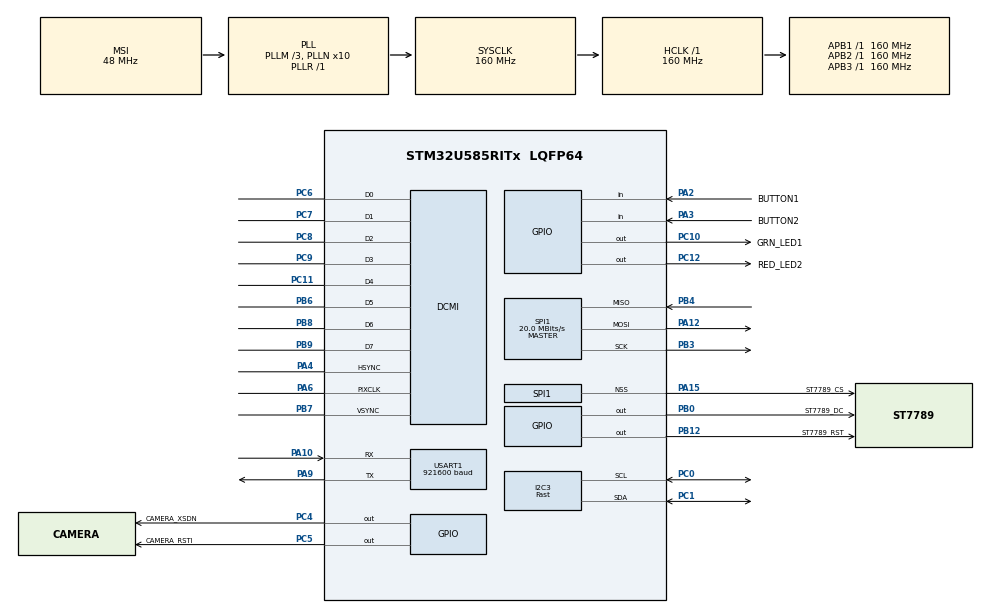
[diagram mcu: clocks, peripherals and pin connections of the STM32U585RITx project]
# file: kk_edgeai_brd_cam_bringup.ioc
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CORTEX_M33_NS.userName=CORTEX_M33
DCMI.HSPolarity=DCMI_HSPOLARITY_HIGH
DCMI.PCKPolarity=DCMI_PCKPOLARITY_RISING
DCMI.VSPolarity=DCMI_VSPOLARITY_HIGH
GPDMA1.DIRECTION_GPDMACH15=DMA_MEMORY_TO_PERIPH
GPDMA1.IPHANDLE_GPDMACH15-SIMPLEREQUEST_GPDMACH15=__NULL
GPDMA1.LINKEDLISTMODE_GPDMACH12=DMA_LINKEDLIST_CIRCULAR
GPDMA1.RECAP_GPDMACH15=DMA_REQUEST_USART1_TX
GPDMA1.REQUEST_GPDMACH15=GPDMA1_REQUEST_SPI1_TX
GPDMA1.SRCINC_GPDMACH15=DMA_SINC_INCREMENTED
GPDMA1.TRANSFERALLOCATEDPORTDEST_GPDMACH15=DMA_DEST_ALLOCATED_PORT1
I2C3.I2C_Speed_Mode=I2C_Fast
I2C3.Timing=0x00F07BFF
Linkedlist.MDMA_Channel0.GP_SW.0.BlkHWRequest=DMA_BREQ_SINGLE_BURST
Linkedlist.MDMA_Channel0.GP_SW.0.DataHandling=NONE
Linkedlist.MDMA_Channel0.GP_SW.0.DataSize=0
Linkedlist.MDMA_Channel0.GP_SW.0.DestBurstLength=1
Linkedlist.MDMA_Channel0.GP_SW.0.DestDataWidth=DMA_DEST_DATAWIDTH_WORD
Linkedlist.MDMA_Channel0.GP_SW.0.DestInc=DMA_DINC_INCREMENTED
Linkedlist.MDMA_Channel0.GP_SW.0.Direction=DMA_PERIPH_TO_MEMORY
Linkedlist.MDMA_Channel0.GP_SW.0.DstAddress=0
Linkedlist.MDMA_Channel0.GP_SW.0.Instance=MDMA_Channel0
Linkedlist.MDMA_Channel0.GP_SW.0.LL_CIRCULARNODE=DCMINode1
Linkedlist.MDMA_Channel0.GP_SW.0.LL_MASTERDMA=GPDMA
Linkedlist.MDMA_Channel0.GP_SW.0.LL_NAME=DCMIQueue
Linkedlist.MDMA_Channel0.GP_SW.0.LL_TYPE=CIRCULAR
Linkedlist.MDMA_Channel0.GP_SW.0.NODE_NAME=DCMINode1
Linkedlist.MDMA_Channel0.GP_SW.0.Requestforcodegen=GPDMA1_REQUEST_DCMI
Linkedlist.MDMA_Channel0.GP_SW.0.SrcAddress=0
Linkedlist.MDMA_Channel0.GP_SW.0.SrcBurstLength=1
Linkedlist.MDMA_Channel0.GP_SW.0.SrcDataWidth=DMA_SRC_DATAWIDTH_WORD
Linkedlist.MDMA_Channel0.GP_SW.0.SrcInc=DMA_SINC_FIXED
Linkedlist.MDMA_Channel0.GP_SW.0.TransferAllocatedPortDest=DMA_DEST_ALLOCATED_PORT1
Linkedlist.MDMA_Channel0.GP_SW.0.TransferAllocatedPortSrc=DMA_SRC_ALLOCATED_PORT0
Linkedlist.MDMA_Channel0.GP_SW.0.TransferEventMode=DMA_TCEM_EACH_LL_ITEM_TRANSFER
Linkedlist.MDMA_Channel0.GP_SW.0.TriggerPolarity=DMA_TRIG_POLARITY_MASKED
Linkedlist.MDMA_Channel0.GP_SW.1.BlkHWRequest=DMA_BREQ_SINGLE_BURST
Linkedlist.MDMA_Channel0.GP_SW.1.DataHandling=NONE
Linkedlist.MDMA_Channel0.GP_SW.1.DataSize=0
Linkedlist.MDMA_Channel0.GP_SW.1.DestBurstLength=1
Linkedlist.MDMA_Channel0.GP_SW.1.DestDataWidth=DMA_DEST_DATAWIDTH_WORD
Linkedlist.MDMA_Channel0.GP_SW.1.DestInc=DMA_DINC_INCREMENTED
Linkedlist.MDMA_Channel0.GP_SW.1.Direction=DMA_PERIPH_TO_MEMORY
Linkedlist.MDMA_Channel0.GP_SW.1.DstAddress=0
Linkedlist.MDMA_Channel0.GP_SW.1.Instance=MDMA_Channel0
Linkedlist.MDMA_Channel0.GP_SW.1.LL_CIRCULARNODE=DCMINode1
Linkedlist.MDMA_Channel0.GP_SW.1.LL_MASTERDMA=GPDMA
Linkedlist.MDMA_Channel0.GP_SW.1.LL_NAME=DCMIQueue
Linkedlist.MDMA_Channel0.GP_SW.1.LL_TYPE=CIRCULAR
Linkedlist.MDMA_Channel0.GP_SW.1.NODE_NAME=DCMINode2
Linkedlist.MDMA_Channel0.GP_SW.1.Requestforcodegen=GPDMA1_REQUEST_DCMI
Linkedlist.MDMA_Channel0.GP_SW.1.SrcAddress=0
Linkedlist.MDMA_Channel0.GP_SW.1.SrcBurstLength=1
Linkedlist.MDMA_Channel0.GP_SW.1.SrcDataWidth=DMA_SRC_DATAWIDTH_WORD
Linkedlist.MDMA_Channel0.GP_SW.1.SrcInc=DMA_SINC_FIXED
Linkedlist.MDMA_Channel0.GP_SW.1.TransferAllocatedPortDest=DMA_DEST_ALLOCATED_PORT1
Linkedlist.MDMA_Channel0.GP_SW.1.TransferAllocatedPortSrc=DMA_SRC_ALLOCATED_PORT0
Linkedlist.MDMA_Channel0.GP_SW.1.TransferEventMode=DMA_TCEM_EACH_LL_ITEM_TRANSFER
Linkedlist.MDMA_Channel0.GP_SW.1.TriggerPolarity=DMA_TRIG_POLARITY_MASKED
Linkedlist.MDMA_Channel0.Request0=GP_SW
Linkedlist.MDMA_Channel0.Request1=GP_SW
Linkedlist.MDMA_Channel0.RequestsNb=2
Linkedlist.RequestSet0=MDMA_Channel0
Linkedlist.RequestSetsNb=1
Mcu.Family=STM32U5
Mcu.Name=STM32U585RITx
Mcu.Package=LQFP64
NVIC.DCMI_PSSI_IRQn=true\:0\:0\:false\:false\:true\:true\:true\:true
NVIC.GPDMA1_Channel12_IRQn=true\:0\:0\:false\:false\:true\:true\:true\:true
NVIC.GPDMA1_Channel15_IRQn=true\:0\:0\:false\:false\:true\:false\:true\:true
NVIC.PriorityGroup=NVIC_PRIORITYGROUP_4
NVIC.SPI1_IRQn=true\:0\:0\:false\:false\:true\:true\:true\:true
NVIC.USART1_IRQn=true\:0\:0\:false\:false\:true\:true\:true\:true
PA10.Mode=Asynchronous
PA10.Signal=USART1_RX
PA12.Mode=Full_Duplex_Master
PA12.Signal=SPI1_MOSI
PA13\ (JTMS/SWDIO).Mode=Serial_Wire
PA13\ (JTMS/SWDIO).Signal=DEBUG_JTMS-SWDIO
PA14\ (JTCK/SWCLK).Mode=Serial_Wire
PA14\ (JTCK/SWCLK).Signal=DEBUG_JTCK-SWCLK
PA15\ (JTDI).GPIO_Label=ST7789_CS
PA15\ (JTDI).Mode=NSS_Signal_Hard_Output
PA15\ (JTDI).Signal=SPI1_NSS
PA2.GPIO_Label=BUTTON1
PA2.Signal=GPIO_Input
PA3.GPIO_Label=BUTTON2
PA3.Signal=GPIO_Input
PA4.GPIO_Speed=GPIO_SPEED_FREQ_HIGH
PA4.Mode=Slave_8_bits_External_Synchro
PA4.Signal=DCMI_HSYNC
PA6.GPIO_Speed=GPIO_SPEED_FREQ_HIGH
PA6.Mode=Slave_8_bits_External_Synchro
PA6.Signal=DCMI_PIXCLK
PA9.Mode=Asynchronous
PA9.Signal=USART1_TX
PB0.GPIO_Label=ST7789_DC
PB0.Signal=GPIO_Output
PB12.GPIO_Label=ST7789_RST
PB12.Signal=GPIO_Output
PB3\ (JTDO/TRACESWO).Mode=Full_Duplex_Master
PB3\ (JTDO/TRACESWO).Signal=SPI1_SCK
PB4\ (NJTRST).Mode=Full_Duplex_Master
PB4\ (NJTRST).Signal=SPI1_MISO
PB6.GPIO_Speed=GPIO_SPEED_FREQ_HIGH
PB6.Mode=Slave_8_bits_External_Synchro
PB6.Signal=DCMI_D5
PB7.GPIO_Speed=GPIO_SPEED_FREQ_HIGH
PB7.Mode=Slave_8_bits_External_Synchro
PB7.Signal=DCMI_VSYNC
PB8.GPIO_Speed=GPIO_SPEED_FREQ_HIGH
PB8.Mode=Slave_8_bits_External_Synchro
PB8.Signal=DCMI_D6
PB9.GPIO_Speed=GPIO_SPEED_FREQ_HIGH
PB9.Mode=Slave_8_bits_External_Synchro
PB9.Signal=DCMI_D7
PC0.Mode=I2C
PC0.Signal=I2C3_SCL
PC1.Mode=I2C
PC1.Signal=I2C3_SDA
PC10.GPIO_Label=GRN_LED1
PC10.PinState=GPIO_PIN_SET
PC10.Signal=GPIO_Output
PC11.GPIO_Speed=GPIO_SPEED_FREQ_HIGH
PC11.Mode=Slave_8_bits_External_Synchro
PC11.Signal=DCMI_D4
PC12.GPIO_Label=RED_LED2
PC12.PinState=GPIO_PIN_SET
PC12.Signal=GPIO_Output
PC4.GPIO_Label=CAMERA_XSDN
PC4.Signal=GPIO_Output
PC5.GPIO_Label=CAMERA_RSTI
PC5.GPIO_ModeDefaultOutputPP=GPIO_MODE_OUTPUT_OD
PC5.GPIO_PuPd=GPIO_NOPULL
PC5.PinState=GPIO_PIN_SET
PC5.Signal=GPIO_Output
PC6.GPIO_Speed=GPIO_SPEED_FREQ_HIGH
PC6.Mode=Slave_8_bits_External_Synchro
PC6.Signal=DCMI_D0
PC7.GPIO_Speed=GPIO_SPEED_FREQ_HIGH
PC7.Mode=Slave_8_bits_External_Synchro
PC7.Signal=DCMI_D1
PC8.GPIO_Speed=GPIO_SPEED_FREQ_HIGH
PC8.Mode=Slave_8_bits_External_Synchro
PC8.Signal=DCMI_D2
PC9.GPIO_Speed=GPIO_SPEED_FREQ_HIGH
PC9.Mode=Slave_8_bits_External_Synchro
PC9.Signal=DCMI_D3
ProjectManager.HeapSize=0x800
ProjectManager.StackSize=0x800
ProjectManager.TargetToolchain=STM32CubeIDE
RCC.ADCFreq_Value=16000000
RCC.AHBFreq_Value=160000000
RCC.APB1Freq_Value=160000000
RCC.APB1TimFreq_Value=160000000
RCC.APB2Freq_Value=160000000
RCC.APB2TimFreq_Value=160000000
RCC.APB3Freq_Value=160000000
RCC.CortexFreq_Value=160000000
RCC.EPOD_VALUE=48000000
RCC.HCLKFreq_Value=160000000
RCC.HSE_VALUE=16000000
RCC.HSI48_VALUE=48000000
RCC.HSI_VALUE=16000000
RCC.LSE_VALUE=32768
RCC.LSIDIV_VALUE=32000
RCC.MSIClockRange=RCC_MSIRANGE_0
RCC.MSI_VALUE=48000000
RCC.PLL1R=1
RCC.PLLFRACN=0
RCC.PLLM=3
RCC.PLLN=10
RCC.SYSCLKFreq_VALUE=160000000
RCC.SYSCLKSource=RCC_SYSCLKSOURCE_PLLCLK
RCC.USBFreq_Value=48000000
RCC.VCOOutputFreq_Value=160000000
SPI1.BaudRatePrescaler=SPI_BAUDRATEPRESCALER_8
SPI1.CLKPhase=SPI_PHASE_2EDGE
SPI1.CLKPolarity=SPI_POLARITY_HIGH
SPI1.CalculateBaudRate=20.0 MBits/s
SPI1.DataSize=SPI_DATASIZE_8BIT
SPI1.Direction=SPI_DIRECTION_2LINES
SPI1.Mode=SPI_MODE_MASTER
SPI1.VirtualNSS=VM_NSSHARD
SPI1.VirtualType=VM_MASTER
STMicroelectronics.X-CUBE-AI.10.2.0.ActivationBufferSizeList=284476
STMicroelectronics.X-CUBE-AI.10.2.0.ActivationBuffers=pool0
STMicroelectronics.X-CUBE-AI.10.2.0.ActivationNames=pool0
STMicroelectronics.X-CUBE-AI.10.2.0.ActivationSizes=AI_P_DET_MODEL_DATA_ACTIVATION_1_SIZE
STMicroelectronics.X-CUBE-AI.10.2.0.ApplicationCcDeviceJjApplication=ApplicationTemplate
STMicroelectronics.X-CUBE-AI.10.2.0.HeapSize=0x800
STMicroelectronics.X-CUBE-AI.10.2.0.InternalRamActivationBufferMaxSize=AI_P_DET_MODEL_DATA_ACTIVATIONS_SIZE
STMicroelectronics.X-CUBE-AI.10.2.0.LatestDirectoryUsed-22d527e8269e08b1355545bac40afa2865f7ea6b38338b52d1e1b85efc793fd8=C\:\\Users\\kenneth.kong\\STM32CubeIDE\\workspace_2.0.0\\stm32u5_custom_pcb_fw\\kk_edgeai_brd_cam_bringup
STMicroelectronics.X-CUBE-AI.10.2.0.MaximumNumberOfInputLayer=1
STMicroelectronics.X-CUBE-AI.10.2.0.MaximumNumberOfOutputLayer=1
STMicroelectronics.X-CUBE-AI.10.2.0.MaximumSizeOfInputLayer=1
STMicroelectronics.X-CUBE-AI.10.2.0.MaximumSizeOfOutputLayer=1
STMicroelectronics.X-CUBE-AI.10.2.0.ModelActualCompression-22d527e8269e08b1355545bac40afa2865f7ea6b38338b52d1e1b85efc793fd8=0.0
STMicroelectronics.X-CUBE-AI.10.2.0.ModelCompression-22d527e8269e08b1355545bac40afa2865f7ea6b38338b52d1e1b85efc793fd8=None
STMicroelectronics.X-CUBE-AI.10.2.0.ModelFlashOccupation-22d527e8269e08b1355545bac40afa2865f7ea6b38338b52d1e1b85efc793fd8=524138
STMicroelectronics.X-CUBE-AI.10.2.0.ModelHashList=22d527e8269e08b1355545bac40afa2865f7ea6b38338b52d1e1b85efc793fd8
STMicroelectronics.X-CUBE-AI.10.2.0.ModelKind-22d527e8269e08b1355545bac40afa2865f7ea6b38338b52d1e1b85efc793fd8=TFLITE
STMicroelectronics.X-CUBE-AI.10.2.0.ModelMacc-22d527e8269e08b1355545bac40afa2865f7ea6b38338b52d1e1b85efc793fd8=19094660
STMicroelectronics.X-CUBE-AI.10.2.0.ModelName-22d527e8269e08b1355545bac40afa2865f7ea6b38338b52d1e1b85efc793fd8=p_det_model
STMicroelectronics.X-CUBE-AI.10.2.0.ModelNameList=p_det_model
STMicroelectronics.X-CUBE-AI.10.2.0.ModelRamOccupation-22d527e8269e08b1355545bac40afa2865f7ea6b38338b52d1e1b85efc793fd8=284476
STMicroelectronics.X-CUBE-AI.10.2.0.ModelStructureFile-22d527e8269e08b1355545bac40afa2865f7ea6b38338b52d1e1b85efc793fd8=mobilenet_v2_0.35_128_fft_int8_image_classification_person.tflite
STMicroelectronics.X-CUBE-AI.10.2.0.ModelType-22d527e8269e08b1355545bac40afa2865f7ea6b38338b52d1e1b85efc793fd8=STM32Cube.AI MCU runtime
STMicroelectronics.X-CUBE-AI.10.2.0.ReadyForCodeGeneration=true
STMicroelectronics.X-CUBE-AI.10.2.0.StackSize=0x800
STMicroelectronics.X-CUBE-AI.10.2.0.WorkingBufferStartAddrList=0xFFFFFFFF
STMicroelectronics.X-CUBE-AI.10.2.0.XAaCUBEAaAICcArtificialOoIntelligenceJjCore=true
STMicroelectronics.X-CUBE-AI.10.2.0.copyWeightToRam=false
STMicroelectronics.X-CUBE-AI.10.2.0.copyWeightToRam-22d527e8269e08b1355545bac40afa2865f7ea6b38338b52d1e1b85efc793fd8=false
STMicroelectronics.X-CUBE-AI.10.2.0.customLayerConfigEnabled=false
STMicroelectronics.X-CUBE-AI.10.2.0.customLayerConfigEnabled-22d527e8269e08b1355545bac40afa2865f7ea6b38338b52d1e1b85efc793fd8=false
STMicroelectronics.X-CUBE-AI.10.2.0.noOnnxIoTranspose=false
STMicroelectronics.X-CUBE-AI.10.2.0.noOnnxIoTranspose-22d527e8269e08b1355545bac40afa2865f7ea6b38338b52d1e1b85efc793fd8=false
STMicroelectronics.X-CUBE-AI.10.2.0.optimization-22d527e8269e08b1355545bac40afa2865f7ea6b38338b52d1e1b85efc793fd8=time
STMicroelectronics.X-CUBE-AI.10.2.0.useInputAllocation=true
STMicroelectronics.X-CUBE-AI.10.2.0.useInputAllocation-22d527e8269e08b1355545bac40afa2865f7ea6b38338b52d1e1b85efc793fd8=true
STMicroelectronics.X-CUBE-AI.10.2.0.useOutputAllocation=true
STMicroelectronics.X-CUBE-AI.10.2.0.useOutputAllocation-22d527e8269e08b1355545bac40afa2865f7ea6b38338b52d1e1b85efc793fd8=true
USART1.BaudRate=921600
USART1.VirtualMode-Asynchronous=VM_ASYNC
VP_GPDMA1_VS_GPDMACH12.Mode=LINKEDLIST_GPDMACH12
VP_GPDMA1_VS_GPDMACH15.Mode=SIMPLEREQUEST_GPDMACH15
VP_ICACHE_VS_ICACHE.Mode=DirectMappedCache
VP_LPBAMQUEUE_VS_QUEUE.Mode=QUEUEMODE
VP_LPBAM_VS_SIG1.Mode=SmartRun
VP_LPBAM_VS_SIG4.Mode=LPDMA1
VP_MEMORYMAP_VS_MEMORYMAP.Mode=CurAppReg
VP_PWR_VS_SECSignals.Mode=Security/Privilege
VP_STMicroelectronics.X-CUBE-AI_VS_ArtificialOoIntelligenceJjXAaCUBEAaAI_10.2.0.Mode=ArtificialOoIntelligenceJjXAaCUBEAaAI
VP_STMicroelectronics.X-CUBE-AI_VS_DeviceJjApplication_10.2.0.Mode=DeviceJjApplication
board=custom

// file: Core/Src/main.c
/* USER CODE BEGIN Header */
/**
  ******************************************************************************
  * @file           : main.c
  * @brief          : Main program body
  ******************************************************************************
  * @attention
  *
  * Copyright (c) 2026 STMicroelectronics.
  * All rights reserved.
  *
  * This software is licensed under terms that can be found in the LICENSE file
  * in the root directory of this software component.
  * If no LICENSE file comes with this software, it is provided AS-IS.
  *
  ******************************************************************************
  */
/* USER CODE END Header */
#include "main.h"
#include "dcmi.h"
#include "gpdma.h"
#include "i2c.h"
#include "icache.h"
#include "spi.h"
#include "usart.h"
#include "gpio.h"
#include "app_x-cube-ai.h"

/* USER CODE BEGIN Includes */
//#include <stdlib.h>
#include <stdio.h>
#include <string.h>
#include "linked_list.h"
#include "b_u585i_iot02a_camera.h"
#include "fonts.h"
#include "st7789.h"
/* USER CODE END Includes */

/* USER CODE BEGIN PTD */
//// Frame header structure for synchronization
//typedef struct __attribute__((packed)) {
//    uint32_t sync_word;      // 0xDEADBEEF for synchronization
//    uint16_t width;
//    uint16_t height;
//    uint16_t format;         // 0 = RGB565  1 = RGB888
//    uint32_t frame_size;     // Total bytes
//    uint32_t checksum;       // Simple checksum for validation
//} FrameHeader_t;
/* USER CODE END PTD */

/* USER CODE BEGIN PD */
#define ON  1
#define OFF 0

#define CAM_RES_W 320
#define CAM_RES_H 240

#define HW_CROP_H 128
#define HW_CROP_V 128
/* USER CODE END PD */

/* USER CODE BEGIN PV */
extern DMA_QListTypeDef DCMIQueue;

// flags
volatile uint8_t is_frame_ready = 0;
uint8_t led_ready = 0;

// timer (systick-based) related
volatile uint32_t g_sysTicks;
//uint32_t cam_tick = 0;

// Camera frame buffer [*3 = RGB888]
//__ALIGNED(32) uint8_t CameraBuf[CAM_RES_W * CAM_RES_H * 3];
__ALIGNED(32) uint8_t CameraBuf[HW_CROP_H * HW_CROP_V * 3];  // this matches to input tensor shape to the model deployed

// Display buffer for scaled frame (240x135 RGB565)
__ALIGNED(32) uint16_t DisplayBuf[ST7789_WIDTH * ST7789_HEIGHT];

// Frame counter
//uint32_t frameNum = 0;

// global var for model output result
float inference_res = 0;
/* USER CODE END PV */

void SystemClock_Config(void);
/* USER CODE BEGIN PFP */
//static void scale_and_display_frame(uint8_t *src_frame, uint16_t src_width, uint16_t src_height,
//                                     uint16_t *dst_buffer, uint16_t dst_width, uint16_t dst_height);
//static void crop_center_scale_and_display_square_rgb888(uint8_t *src_frame,
//                                                        uint16_t src_width, uint16_t src_height,
//                                                        uint16_t screen_w, uint16_t screen_h);
void crop_center_128x128_rgb888(uint8_t *src_frame, uint16_t src_width, uint16_t src_height,
                                uint8_t *dst_buffer);
/* USER CODE END PFP */

/* USER CODE BEGIN 0 */
uint8_t *get_camera_buf(void)
{
	return &CameraBuf[0];
}

// Function to get camera buffer for AI processing (extern declaration in app_x-cube-ai.c)
uint8_t *get_camera_frame_for_ai(void)
{
	return &CameraBuf[0];
}

void BSP_CAMERA_FrameEventCallback(uint32_t Instance)
{
//  BSP_CAMERA_Suspend(0);  // only if CONTINUOUS mode is in use
  is_frame_ready = 1;
}

uint32_t get_ticks(void)
{
	return g_sysTicks;
}
uint32_t msec_since(uint32_t refTick)
{
	uint32_t tick_now = g_sysTicks;
	return (tick_now - refTick);
}

void set_green_led_state(uint8_t en)
{
	if (en)
		HAL_GPIO_WritePin(GRN_LED1_GPIO_Port, GRN_LED1_Pin, GPIO_PIN_RESET);
	else
		HAL_GPIO_WritePin(GRN_LED1_GPIO_Port, GRN_LED1_Pin, GPIO_PIN_SET);
}
void set_red_led_state(uint8_t en)
{
	if (en)
		HAL_GPIO_WritePin(RED_LED2_GPIO_Port, RED_LED2_Pin, GPIO_PIN_RESET);
	else
		HAL_GPIO_WritePin(RED_LED2_GPIO_Port, RED_LED2_Pin, GPIO_PIN_SET);
}
/* USER CODE END 0 */

int main(void)
{

  /* USER CODE BEGIN 1 */
  uint32_t dcmi_dma_len = ((uint32_t)(HW_CROP_H * HW_CROP_V) * 3) / 4U;
  /* USER CODE END 1 */

  /* MCU Configuration--------------------------------------------------------*/

  /* Reset of all peripherals, Initializes the Flash interface and the Systick. */
  HAL_Init();

  /* Configure the system clock */
  SystemClock_Config();

  /* Initialize all configured peripherals */
  MX_GPIO_Init();
  MX_GPDMA1_Init();
  MX_DCMI_Init();
  MX_I2C3_Init();
  MX_ICACHE_Init();
  MX_USART1_UART_Init();
  MX_SPI1_Init();
  MX_X_CUBE_AI_Init();
  /* USER CODE BEGIN 2 */
  MX_DCMIQueue_Config();
  HAL_DMAEx_List_LinkQ(&handle_GPDMA1_Channel12, &DCMIQueue);
  __HAL_LINKDMA(&hdcmi, DMA_Handle, handle_GPDMA1_Channel12);

  // Print
//  HAL_UART_Transmit(&huart1, (uint8_t *)"\r\nKenneth's Edge AI Board Bring-up Test\r\n", strlen("\r\nKenneth's Edge AI Board Bring-up Test\r\n"), 1000);

  // Set all LEDs <off>
  set_green_led_state(OFF);
  set_red_led_state(OFF);

  // Initialize Display
  ST7789_Init();
  ST7789_Fill_Color(BLUE);
  uint16_t x, y;
  y = x = 8;
  ST7789_WriteString(x, y, "EDGE AI BOARD", Font_16x26, YELLOW, BLUE);
  ST7789_WriteString(x, y+32, "Starting Person Detection DEMO", Font_7x10, WHITE, BLUE);
  ST7789_WriteString(x, y+52, "Camera Initializing", Font_11x18, RED, BLACK);

  // Initialize camera
#ifdef USE_RGB565
  if (BSP_CAMERA_Init(0, CAMERA_R320x240, CAMERA_PF_RGB565) != BSP_ERROR_NONE)
#endif
#ifdef USE_RGB888
  if (BSP_CAMERA_Init(0, CAMERA_R320x240, CAMERA_PF_RGB888) != BSP_ERROR_NONE)
#endif
  {
    ST7789_Fill_Color(BLACK);
    ST7789_WriteString(x, y, "CAMERA ERR!", Font_16x26, BLACK, RED);
    while(1);
  }
  else
  {
//    HAL_Delay(1000); // give the camera time to return good images

    // Debug
//	uint32_t lightMode, colorEffect, mirrorFlip;
//	int32_t brightness, sat, contr, hue;
//	BSP_CAMERA_GetLightMode(0, &lightMode);
//	BSP_CAMERA_GetColorEffect(0, &colorEffect);
//	BSP_CAMERA_GetBrightness(0, &brightness);
//	BSP_CAMERA_GetSaturation(0, &sat);
//	BSP_CAMERA_GetContrast(0, &contr);
//	BSP_CAMERA_GetHueDegree(0, &hue);
//	BSP_CAMERA_GetMirrorFlip(0, &mirrorFlip);
//	char strBuf[150] = {0};
//	sprintf(strBuf, "\r\nLight Mode: %lu\r\nColor Effect: %lu\r\nBrightness: %ld\r\nSaturation: %ld\r\nContrast: %ld\r\nHueDeg: %ld\r\nMirror Flip: %lu\r\n", lightMode, colorEffect, brightness, sat, contr, hue, mirrorFlip);
//	HAL_UART_Transmit(&huart1, (uint8_t *)strBuf, strlen(strBuf), 1000);

	// Configure camera options
	BSP_CAMERA_SetMirrorFlip(0, CAMERA_MIRRORFLIP_MIRROR);
	HAL_Delay(100);

	// Enable DCMI crop
	uint32_t X0 = (CAM_RES_W - HW_CROP_H) * 3 / 2;  // horizontal value is in pixel clocks count
	uint32_t Y0 = (CAM_RES_H - HW_CROP_V) / 2;
	uint32_t XSize = (HW_CROP_H * 3) - 1;           // horizontal value is in pixel clocks count [0 based]
	uint32_t YSize = HW_CROP_V - 1;                 // 0 based
	HAL_DCMI_ConfigCrop(&hdcmi, X0, Y0, XSize, YSize);
	HAL_Delay(450);
	HAL_DCMI_EnableCrop(&hdcmi);
	HAL_Delay(450);

	// Wait for user input
	ST7789_Fill_Color(BLACK);
	ST7789_WriteString(x, y,    "Press Button 2", Font_11x18, YELLOW, BLACK);
	ST7789_WriteString(x, y+18, "To Begin DEMO!", Font_11x18, YELLOW, BLACK);
    while (GPIO_PIN_RESET == HAL_GPIO_ReadPin(BUTTON2_GPIO_Port, BUTTON2_Pin));
    ST7789_Fill_Color(BLACK);

    // Start Camera
    is_frame_ready = 0;
//    BSP_CAMERA_Start(0, get_camera_buf(), CAMERA_MODE_CONTINUOUS);
    // Note: BSP function uses full 320*240 for DCMI DMA transfer, so it can't be used for cropped frame setup
    HAL_DCMI_Start_DMA(&hdcmi, CAMERA_MODE_SNAPSHOT, (uint32_t)CameraBuf, dcmi_dma_len);
  }

  /* USER CODE END 2 */

  /* Infinite loop */
  /* USER CODE BEGIN WHILE */
  while (1)
  {
	if (is_frame_ready)
	{
//	// 0. black out screen
//	  ST7789_Fill_Color(BLACK);

	// 1. Run AI inference on the new frame (crops center 128x128 internally)
	  MX_X_CUBE_AI_Process();

	// 2. Draw frame to display
	  // Convert RGB888 (BGR) to RGB565 and scale 128x128 to 135x135 (maintaining square aspect ratio)
	  // Display is 240x135, so we scale to 135x135 and center horizontally at x = (240-135)/2 = 52
	  const uint16_t src_width = HW_CROP_H;
	  const uint16_t src_height = HW_CROP_V;
	  const uint16_t dst_width = 135;
	  const uint16_t dst_height = 135;
	  const uint16_t dst_x = (ST7789_WIDTH - dst_width) >> 1;  // Center horizontally
	  const uint16_t dst_y = 0;  // Top aligned

	  // Scale and convert pixel by pixel
	  for (uint16_t dy = 0; dy < dst_height; dy++)
	  {
		for (uint16_t dx = 0; dx < dst_width; dx++)
		{
		  // Calculate source pixel coordinates using nearest neighbor
		  uint16_t sx = (dx * src_width) / dst_width;
		  uint16_t sy = (dy * src_height) / dst_height;

		  // Clamp to source bounds
		  if (sx >= src_width) sx = src_width - 1;
		  if (sy >= src_height) sy = src_height - 1;

		  // Get source pixel (BGR format: B, G, R)
		  uint32_t src_idx = (sy * src_width + sx) * 3;
		  uint8_t b = CameraBuf[src_idx];
		  uint8_t g = CameraBuf[src_idx + 1];
		  uint8_t r = CameraBuf[src_idx + 2];

		  // Convert to RGB565: RRRRR GGGGGG BBBBB
		  uint16_t rgb565 = ((r >> 3) << 11) | ((g >> 2) << 5) | (b >> 3);

		  // Swap bytes for ST7789 SPI because of the difference between big-endian and little-endian
		  rgb565 = (rgb565 >> 8) | (rgb565 << 8);

		  // Store in display buffer
		  DisplayBuf[dy * dst_width + dx] = rgb565;
		}
	  }
	  // Display the scaled image
	  ST7789_DrawImage(dst_x, dst_y, dst_width, dst_height, DisplayBuf);

	// 3. Draw overlay
	  char osd_buf[20] = {0};
	  sprintf(osd_buf, "%u%%", (uint8_t)(inference_res*100.f));
	  ST7789_WriteString(((ST7789_WIDTH - 128) >> 1) - 1, ST7789_HEIGHT - 20, osd_buf, Font_11x18, BLACK, YELLOW);

    // 4. Restart camera if SNAPSHOT mode is in use
      is_frame_ready = 0;
      HAL_DCMI_Start_DMA(&hdcmi, CAMERA_MODE_SNAPSHOT, (uint32_t)CameraBuf, dcmi_dma_len);
    }

    /* USER CODE END WHILE */

//  MX_X_CUBE_AI_Process();
  }
}

void SystemClock_Config(void)
{
  RCC_OscInitTypeDef RCC_OscInitStruct = {0};
  RCC_ClkInitTypeDef RCC_ClkInitStruct = {0};

  /** Configure the main internal regulator output voltage
  */
  if (HAL_PWREx_ControlVoltageScaling(PWR_REGULATOR_VOLTAGE_SCALE1) != HAL_OK)
  {
    Error_Handler();
  }

  /** Initializes the CPU, AHB and APB buses clocks
  */
  RCC_OscInitStruct.OscillatorType = RCC_OSCILLATORTYPE_MSI;
  RCC_OscInitStruct.MSIState = RCC_MSI_ON;
  RCC_OscInitStruct.MSICalibrationValue = RCC_MSICALIBRATION_DEFAULT;
  RCC_OscInitStruct.MSIClockRange = RCC_MSIRANGE_0;
  RCC_OscInitStruct.PLL.PLLState = RCC_PLL_ON;
  RCC_OscInitStruct.PLL.PLLSource = RCC_PLLSOURCE_MSI;
  RCC_OscInitStruct.PLL.PLLMBOOST = RCC_PLLMBOOST_DIV4;
  RCC_OscInitStruct.PLL.PLLM = 3;
  RCC_OscInitStruct.PLL.PLLN = 10;
  RCC_OscInitStruct.PLL.PLLP = 2;
  RCC_OscInitStruct.PLL.PLLQ = 2;
  RCC_OscInitStruct.PLL.PLLR = 1;
  RCC_OscInitStruct.PLL.PLLRGE = RCC_PLLVCIRANGE_1;
  RCC_OscInitStruct.PLL.PLLFRACN = 0;
  if (HAL_RCC_OscConfig(&RCC_OscInitStruct) != HAL_OK)
  {
    Error_Handler();
  }

  /** Initializes the CPU, AHB and APB buses clocks
  */
  RCC_ClkInitStruct.ClockType = RCC_CLOCKTYPE_HCLK|RCC_CLOCKTYPE_SYSCLK
                              |RCC_CLOCKTYPE_PCLK1|RCC_CLOCKTYPE_PCLK2
                              |RCC_CLOCKTYPE_PCLK3;
  RCC_ClkInitStruct.SYSCLKSource = RCC_SYSCLKSOURCE_PLLCLK;
  RCC_ClkInitStruct.AHBCLKDivider = RCC_SYSCLK_DIV1;
  RCC_ClkInitStruct.APB1CLKDivider = RCC_HCLK_DIV1;
  RCC_ClkInitStruct.APB2CLKDivider = RCC_HCLK_DIV1;
  RCC_ClkInitStruct.APB3CLKDivider = RCC_HCLK_DIV1;

  if (HAL_RCC_ClockConfig(&RCC_ClkInitStruct, FLASH_LATENCY_4) != HAL_OK)
  {
    Error_Handler();
  }
}

/* USER CODE BEGIN 4 */

// Simple checksum calculation
//static inline uint32_t calculate_checksum(uint8_t *data, uint32_t len)
//{
//    uint32_t sum = 0;
//    for(uint32_t i = 0; i < len; i++) {
//        sum += data[i];
//    }
//    return sum;
//}

// Send frame over UART
//static int32_t send_frame_uart(UART_HandleTypeDef *huart, uint8_t *frame_data, uint16_t width, uint16_t height)
//{
////    FrameHeader_t header;
////    header.sync_word = 0xDEADBEEF;
////    header.width = width;
////    header.height = height;
////    header.format = 0;  // RGB565
//////    header.format = 1;  // RGB888
////    header.frame_size = width * height * 2;  // *2 for RGB565
//////    header.frame_size = 320 * 240 * 3;  // 230,400 bytes
//////    header.frame_size = 480 * 272 * 3;
////    header.checksum = calculate_checksum(frame_data, header.frame_size);
////
////    // Send header
////    HAL_UART_Transmit(huart, (uint8_t*)&header, sizeof(FrameHeader_t), HAL_MAX_DELAY);
//
//    // Send frame data in chunks to avoid timeout
//	uint32_t data_len = sizeof(CameraBuf) - 4;
//    uint32_t bytes_sent = 0;
//    uint32_t chunk_size = 4096;  // Adjust based on your UART buffer
//
//    // Send Sync Word
//    // fill in SYNC WORD
//    uint8_t syncBuf[4];
//    *((uint32_t *)syncBuf) = 0xDEADBEEF;
//    HAL_UART_Transmit(huart, syncBuf, sizeof(syncBuf), 1000);
//
//    while(bytes_sent < data_len) {
//        uint32_t remaining = data_len - bytes_sent;
//        uint32_t to_send = (remaining > chunk_size) ? chunk_size : remaining;
//
//        HAL_StatusTypeDef status = HAL_UART_Transmit(huart,
//                                                      &frame_data[bytes_sent],
//                                                      to_send,
//                                                      1000);
//        if(status != HAL_OK) {
//            // Handle error
//        	set_green_led_state(OFF);
//            return -1;
//        }
//        bytes_sent += to_send;
//    }
//
//    set_green_led_state(OFF);
//    return 0;
//}

///**
// * @brief Scale full 320x240 RGB888 frame to fit 240x135 screen with aspect ratio preserved
// *        and display using row-by-row DMA (letterboxed with black bars left/right).
// *
// * @param src_frame Pointer to source frame data (RGB888, 3 bytes per pixel, BGR888 format from DCMI)
// * @param src_width Source frame width  (expected 320)
// * @param src_height Source frame height (expected 240)
// * @param screen_w Screen width  (240)
// * @param screen_h Screen height (135)
// * @return None
// *
// * This function:
// *   - Computes a uniform scale so that the full 320x240 frame fits within 240x135
// *   - Preserves the original 4:3 aspect ratio
// *   - Fills unused columns on the left/right with black (letterboxing)
// *   - Uses row-by-row processing and SPI DMA to minimize RAM usage
// */
//static void crop_center_scale_and_display_square_rgb888(uint8_t *src_frame,
//                                                        uint16_t src_width, uint16_t src_height,
//                                                        uint16_t screen_w, uint16_t screen_h)
//{
//    // 1) Compute active display width that preserves aspect ratio
//    //
//    // We choose the scale so that the full height fits:
//    //   scale_h = screen_h / src_height  (135 / 240 = 0.5625)
//    //   active_w = src_width * screen_h / src_height  (=> 320 * 135 / 240 = 180)
//    //
//    // This preserves aspect ratio and leaves black bars left/right:
//    //   left_bar = (screen_w - active_w) / 2  (=> (240 - 180) / 2 = 30)
//    uint16_t active_w = (uint32_t)src_width * screen_h / src_height;  // 180 for 320x240 -> 240x135
//    if (active_w > screen_w) {
//        active_w = screen_w;  // Safety clamp
//    }
//    uint16_t x_pad = (screen_w - active_w) / 2;
//
//    // 3) Row buffer for DMA (one row = screen width)
//    static uint16_t row_buf[ST7789_WIDTH];  // 240 pixels = 480 bytes
//
//    // 4) Set address window for full screen (replicate logic from ST7789_SetAddressWindow)
//    ST7789_Select();
//    {
//        uint16_t x_start = 0 + 40, x_end = (screen_w - 1) + 40;  // X_SHIFT = 40 for rotation 1
//        uint16_t y_start = 0 + 52, y_end = (screen_h - 1) + 52;  // Y_SHIFT = 52 for rotation 1
//
//        /* Column Address set */
//        ST7789_DC_Clr();
//        uint8_t cmd = 0x2A;  // ST7789_CASET
//        HAL_SPI_Transmit(&ST7789_SPI_PORT, &cmd, 1, HAL_MAX_DELAY);
//        ST7789_DC_Set();
//        {
//            uint8_t data[] = {x_start >> 8, x_start & 0xFF, x_end >> 8, x_end & 0xFF};
//            HAL_SPI_Transmit(&ST7789_SPI_PORT, data, sizeof(data), HAL_MAX_DELAY);
//        }
//
//        /* Row Address set */
//        ST7789_DC_Clr();
//        cmd = 0x2B;  // ST7789_RASET
//        HAL_SPI_Transmit(&ST7789_SPI_PORT, &cmd, 1, HAL_MAX_DELAY);
//        ST7789_DC_Set();
//        {
//            uint8_t data[] = {y_start >> 8, y_start & 0xFF, y_end >> 8, y_end & 0xFF};
//            HAL_SPI_Transmit(&ST7789_SPI_PORT, data, sizeof(data), HAL_MAX_DELAY);
//        }
//
//        /* Write to RAM */
//        ST7789_DC_Clr();
//        cmd = 0x2C;  // ST7789_RAMWR
//        HAL_SPI_Transmit(&ST7789_SPI_PORT, &cmd, 1, HAL_MAX_DELAY);
//        ST7789_DC_Set();
//    }
//
//    // 5) Process and send row by row
//    const uint16_t DMA_MIN_SIZE = 16;  // Minimum size for DMA transfer
//    for (uint16_t screen_y = 0; screen_y < screen_h; screen_y++) {
//        // Clear row buffer to black (for areas outside the square)
//        for (uint16_t x = 0; x < screen_w; x++) {
//            row_buf[x] = 0x0000;  // Black (RGB565, byte-swapped)
//        }
//
//        // Map this screen row to a source row using uniform vertical scaling:
//        //   src_y = screen_y * src_height / screen_h
//        uint16_t sy = (uint32_t)screen_y * src_height / screen_h;
//
//        // Process active display region: columns [x_pad, x_pad + active_w)
//        for (uint16_t screen_x = 0; screen_x < screen_w; screen_x++) {
//            if (screen_x < x_pad || screen_x >= (x_pad + active_w)) {
//                // Left/right black bars already set in row_buf
//                continue;
//            }
//
//            // Position within active display region (0 .. active_w-1)
//            uint16_t active_x = screen_x - x_pad;
//            // Map to source X coordinate:
//            //   sx = active_x * src_width / active_w
//            uint16_t sx = (uint32_t)active_x * src_width / active_w;
//
//            // Get source pixel (BGR888 format from DCMI)
//            uint32_t src_idx = ((uint32_t)sy * src_width + sx) * 3;
//            uint8_t b = src_frame[src_idx + 0];  // Blue from DCMI
//            uint8_t g = src_frame[src_idx + 1];  // Green from DCMI
//            uint8_t r = src_frame[src_idx + 2];  // Red from DCMI
//
//            // Convert RGB888 -> RGB565
//            uint16_t pixel565 = (uint16_t)(((r & 0xF8) << 8) |
//                                           ((g & 0xFC) << 3) |
//                                           ((b & 0xF8) >> 3));
//
//            // Swap bytes for ST7789 SPI byte-stream and place in row buffer
//            row_buf[screen_x] = __REV16(pixel565);
//        }
//
//        // Send row via DMA (replicate ST7789_WriteData logic)
//        size_t buff_size = sizeof(uint16_t) * screen_w;
//        uint8_t *buff = (uint8_t *)row_buf;
//
//        while (buff_size > 0) {
//            uint16_t chunk_size = buff_size > 65535 ? 65535 : buff_size;
//            if (DMA_MIN_SIZE <= buff_size) {
//                HAL_SPI_Transmit_DMA(&ST7789_SPI_PORT, buff, chunk_size);
//                while (ST7789_SPI_PORT.hdmatx->State != HAL_DMA_STATE_READY) {}
//            } else {
//                HAL_SPI_Transmit(&ST7789_SPI_PORT, buff, chunk_size, HAL_MAX_DELAY);
//            }
//            buff += chunk_size;
//            buff_size -= chunk_size;
//        }
//    }
//
//    ST7789_UnSelect();
//
//    // 6) Draw AI crop indicator rectangle (72x72) at center of display
//    {
//        const uint16_t rect_w = 72;
//        const uint16_t rect_h = 72;
//        uint16_t rect_x1 = (screen_w - rect_w) / 2;        // (240 - 72) / 2 = 84
//        uint16_t rect_y1 = (screen_h - rect_h) / 2;        // (135 - 72) / 2 = 31
//        uint16_t rect_x2 = rect_x1 + rect_w - 1;           // 84 + 72 - 1 = 155
//        uint16_t rect_y2 = rect_y1 + rect_h - 1;           // 31 + 72 - 1 = 102
//        ST7789_DrawRectangle(rect_x1, rect_y1, rect_x2, rect_y2, YELLOW);
//    }
//
//    // 7) Draw OSD text
//    static char osd_buf[16];
//    sprintf(osd_buf, "FRAME");
//    ST7789_WriteString(4, 4, osd_buf, Font_7x10, WHITE, BLACK);
//    sprintf(osd_buf, "#%lu", ++frameNum);
//    ST7789_WriteString(4, 16, osd_buf, Font_7x10, WHITE, BLACK);
////#ifdef USE_RGB565
////    ST7789_WriteString(170, 113, "RGB565", Font_11x18, BLACK, YELLOW);
////#endif
////#ifdef USE_RGB888
////    ST7789_WriteString(170, 113, "RGB888", Font_11x18, BLACK, YELLOW);
////#endif
//    sprintf(osd_buf, "Person: %u%%", (unsigned int)(inference_res*100.f));
//    ST7789_WriteString((240 - (12*11 + 2)), 115, osd_buf, Font_11x18, BLACK, YELLOW);
//}

/**
 * @brief Crop center 128x128 region from RGB888 source frame for AI model input
 * @param src_frame Pointer to source frame data (RGB888, 3 bytes per pixel)
 *                  Note: DCMI stores as BGR888 (B, G, R), but we convert to RGB888 for model
 * @param src_width Source frame width (320)
 * @param src_height Source frame height (240)
 * @param dst_buffer Pointer to destination buffer (128x128x3 = 49152 bytes, RGB888 format)
 * @return None
 */
void crop_center_128x128_rgb888(uint8_t *src_frame, uint16_t src_width, uint16_t src_height,
                                uint8_t *dst_buffer)
{
    // Copy cropped region pixel by pixel
    for (uint16_t y = 0; y < HW_CROP_V; y++) {
        uint16_t src_y = y;

        for (uint16_t x = 0; x < HW_CROP_H; x++) {
            uint16_t src_x = x;

            // Source pixel index (BGR888 format from DCMI)
            uint32_t src_idx = ((uint32_t)src_y * src_width + src_x) * 3;

            // Destination pixel index (RGB888 format for model)
            uint32_t dst_idx = ((uint32_t)y * HW_CROP_H + x) * 3;

            // DCMI stores as BGR888, convert to RGB888 for TensorFlow model
            uint8_t b = src_frame[src_idx + 0];  // Blue from DCMI
            uint8_t g = src_frame[src_idx + 1];  // Green from DCMI
            uint8_t r = src_frame[src_idx + 2];  // Red from DCMI

            // Store as RGB888 for model input
            dst_buffer[dst_idx + 0] = r;  // Red
            dst_buffer[dst_idx + 1] = g;  // Green
            dst_buffer[dst_idx + 2] = b;  // Blue
        }
    }
}

/* USER CODE END 4 */

void Error_Handler(void)
{
  __disable_irq();
  while (1)
  {
  }
}
